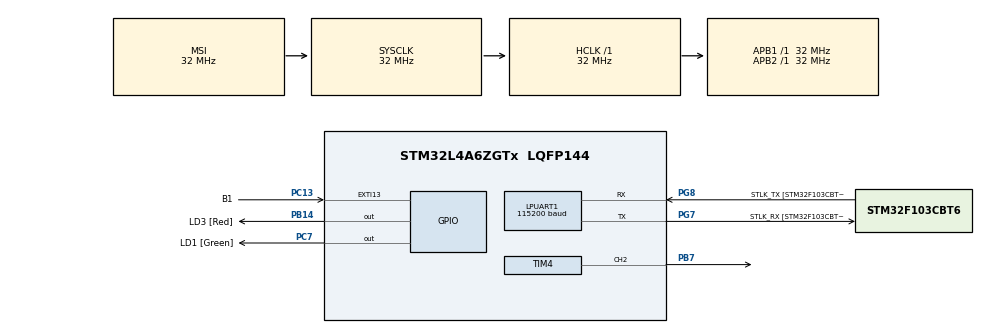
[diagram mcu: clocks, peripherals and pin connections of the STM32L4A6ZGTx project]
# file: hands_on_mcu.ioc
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LPUART1.AutoBaudRateEnableParam=UART_ADVFEATURE_AUTOBAUDRATE_DISABLE
LPUART1.BaudRate=115200
LPUART1.DMADisableonRxErrorParam=UART_ADVFEATURE_DMA_ENABLEONRXERROR
LPUART1.DataInvertParam=UART_ADVFEATURE_DATAINV_DISABLE
LPUART1.MSBFirstParam=UART_ADVFEATURE_MSBFIRST_DISABLE
LPUART1.Mode=UART_MODE_TX_RX
LPUART1.OneBitSampling=UART_ONE_BIT_SAMPLE_DISABLE
LPUART1.OverrunDisableParam=UART_ADVFEATURE_OVERRUN_ENABLE
LPUART1.Parity=UART_PARITY_NONE
LPUART1.RxPinLevelInvertParam=UART_ADVFEATURE_RXINV_DISABLE
LPUART1.StopBits=UART_STOPBITS_1
LPUART1.SwapParam=UART_ADVFEATURE_SWAP_DISABLE
LPUART1.TxPinLevelInvertParam=UART_ADVFEATURE_TXINV_DISABLE
LPUART1.WordLength=UART_WORDLENGTH_8B
Mcu.Family=STM32L4
Mcu.Name=STM32L4A6ZGTx
Mcu.Package=LQFP144
NVIC.EXTI15_10_IRQn=true\:0\:0\:false\:false\:true\:true\:true\:true
NVIC.PriorityGroup=NVIC_PRIORITYGROUP_4
PA13\ (JTMS/SWDIO).GPIO_Label=TMS
PA13\ (JTMS/SWDIO).Signal=SYS_JTMS-SWDIO
PA14\ (JTCK/SWCLK).GPIO_Label=TCK
PA14\ (JTCK/SWCLK).Signal=SYS_JTCK-SWCLK
PB14.GPIO_Label=LD3 [Red]
PB14.Signal=GPIO_Output
PB7.Signal=S_TIM4_CH2
PC13.GPIO_Label=B1
PC13.Signal=GPXTI13
PC14-OSC32_IN\ (PC14).Mode=LSE-External-Oscillator
PC14-OSC32_IN\ (PC14).Signal=RCC_OSC32_IN
PC15-OSC32_OUT\ (PC15).Mode=LSE-External-Oscillator
PC15-OSC32_OUT\ (PC15).Signal=RCC_OSC32_OUT
PC7.GPIO_Label=LD1 [Green]
PC7.Signal=GPIO_Output
PG7.GPIO_Label=STLK_RX [STM32F103CBT6_PA3]
PG7.Mode=Asynchronous
PG7.Signal=LPUART1_TX
PG8.GPIO_Label=STLK_TX [STM32F103CBT6_PA2]
PG8.Mode=Asynchronous
PG8.Signal=LPUART1_RX
PH1-OSC_OUT\ (PH1).Signal=RCC_OSC_OUT
ProjectManager.HeapSize=0x200
ProjectManager.StackSize=0x400
ProjectManager.TargetToolchain=STM32CubeIDE
RCC.ADCFreq_Value=384000000
RCC.AHBFreq_Value=32000000
RCC.APB1Freq_Value=32000000
RCC.APB1TimFreq_Value=32000000
RCC.APB2Freq_Value=32000000
RCC.APB2TimFreq_Value=32000000
RCC.CortexFreq_Value=32000000
RCC.FLatency=FLASH_LATENCY_1
RCC.HCLKFreq_Value=32000000
RCC.HSE_VALUE=8000000
RCC.HSI48_VALUE=48000000
RCC.HSI_VALUE=16000000
RCC.MSIClockRange=RCC_MSIRANGE_10
RCC.MSI_VALUE=32000000
RCC.PLLN=71
RCC.PLLR=RCC_PLLR_DIV6
RCC.PLLSAI1N=24
RCC.SYSCLKFreq_VALUE=32000000
RCC.USBFreq_Value=384000000
RCC.VCOOutputFreq_Value=2272000000
SH.S_TIM4_CH2.0=TIM4_CH2,Output Compare2 CH2
TIM4.Channel-Output\ Compare2\ CH2=TIM_CHANNEL_2
TIM4.OCMode_2=TIM_OCMODE_TOGGLE
TIM4.Period=499
TIM4.Prescaler=31199
VP_TIM4_VS_ClockSourceINT.Mode=Internal
board=NUCLEO-L4A6ZG

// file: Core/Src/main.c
/* USER CODE BEGIN Header */
/**
  ******************************************************************************
  * @file           : main.c
  * @brief          : Main program body
  ******************************************************************************
  * @attention
  *
  * <h2><center>&copy; Copyright (c) 2021 STMicroelectronics.
  * All rights reserved.</center></h2>
  *
  * This software component is licensed by ST under BSD 3-Clause license,
  * the "License"; You may not use this file except in compliance with the
  * License. You may obtain a copy of the License at:
  *                        opensource.org/licenses/BSD-3-Clause
  *
  ******************************************************************************
  */
/* USER CODE END Header */
#include "main.h"
#include "usart.h"
#include "tim.h"
#include "gpio.h"

/* USER CODE BEGIN Includes */
#include <stdio.h>
#include "retarget.h"  //to use printf to print information via the UART stream
/* USER CODE END Includes */

/* USER CODE BEGIN PV */
//int buttonPressed = 0;
int ledBlinking = 0;

/* USER CODE END PV */

void SystemClock_Config(void);

int main(void)
{

  /* MCU Configuration--------------------------------------------------------*/

  /* Reset of all peripherals, Initializes the Flash interface and the Systick. */
  HAL_Init();

  /* Configure the system clock */
  SystemClock_Config();

  /* Initialize all configured peripherals */
  MX_GPIO_Init();
  MX_LPUART1_UART_Init();
  MX_TIM4_Init();
  /* USER CODE BEGIN 2 */
  RetargetInit(&hlpuart1);
  printf("Hello world!\r\n");

  /* USER CODE END 2 */

  /* Infinite loop */
  while (1)
  {

  }
}

void SystemClock_Config(void)
{
  RCC_OscInitTypeDef RCC_OscInitStruct = {0};
  RCC_ClkInitTypeDef RCC_ClkInitStruct = {0};

  /** Configure the main internal regulator output voltage
  */
  if (HAL_PWREx_ControlVoltageScaling(PWR_REGULATOR_VOLTAGE_SCALE1) != HAL_OK)
  {
    Error_Handler();
  }

  /** Initializes the RCC Oscillators according to the specified parameters
  * in the RCC_OscInitTypeDef structure.
  */
  RCC_OscInitStruct.OscillatorType = RCC_OSCILLATORTYPE_MSI;
  RCC_OscInitStruct.MSIState = RCC_MSI_ON;
  RCC_OscInitStruct.MSICalibrationValue = 0;
  RCC_OscInitStruct.MSIClockRange = RCC_MSIRANGE_10;
  RCC_OscInitStruct.PLL.PLLState = RCC_PLL_NONE;
  if (HAL_RCC_OscConfig(&RCC_OscInitStruct) != HAL_OK)
  {
    Error_Handler();
  }

  /** Initializes the CPU, AHB and APB buses clocks
  */
  RCC_ClkInitStruct.ClockType = RCC_CLOCKTYPE_HCLK|RCC_CLOCKTYPE_SYSCLK
                              |RCC_CLOCKTYPE_PCLK1|RCC_CLOCKTYPE_PCLK2;
  RCC_ClkInitStruct.SYSCLKSource = RCC_SYSCLKSOURCE_MSI;
  RCC_ClkInitStruct.AHBCLKDivider = RCC_SYSCLK_DIV1;
  RCC_ClkInitStruct.APB1CLKDivider = RCC_HCLK_DIV1;
  RCC_ClkInitStruct.APB2CLKDivider = RCC_HCLK_DIV1;

  if (HAL_RCC_ClockConfig(&RCC_ClkInitStruct, FLASH_LATENCY_1) != HAL_OK)
  {
    Error_Handler();
  }
}

/* USER CODE BEGIN 4 */

//This function is called each time a GPIO EXTI interrupt is raised whatever the concerned pin (this is why we need to check which pin was triggered)
void HAL_GPIO_EXTI_Callback(uint16_t GPIO_Pin){
	if (GPIO_Pin == B1_Pin) {
		ledBlinking = !ledBlinking; //if we want to change the mode, the button must be pressed during several seconds (drawback of the polling strategy)
		printf("LED is %s\r\n", ledBlinking ? "blinking" : "not blinking");

		//Blinking mode
			  if (ledBlinking){
				  printf("Blinking mode with timer\r\n");
				  HAL_TIM_OC_Start(&htim4, TIM_CHANNEL_2); //To start the timer and blinking

			  }

			  //If no-blinking mode, the led stays OFF (ok ?)
			  else {
				  printf("No-Blinking mode\r\n");
				  HAL_TIM_OC_Stop(&htim4, TIM_CHANNEL_2); //To stop the timer and the blinking
			  }

	}
}

/* USER CODE END 4 */

void Error_Handler(void)
{
  __disable_irq();
  while (1)
  {
  }
}
